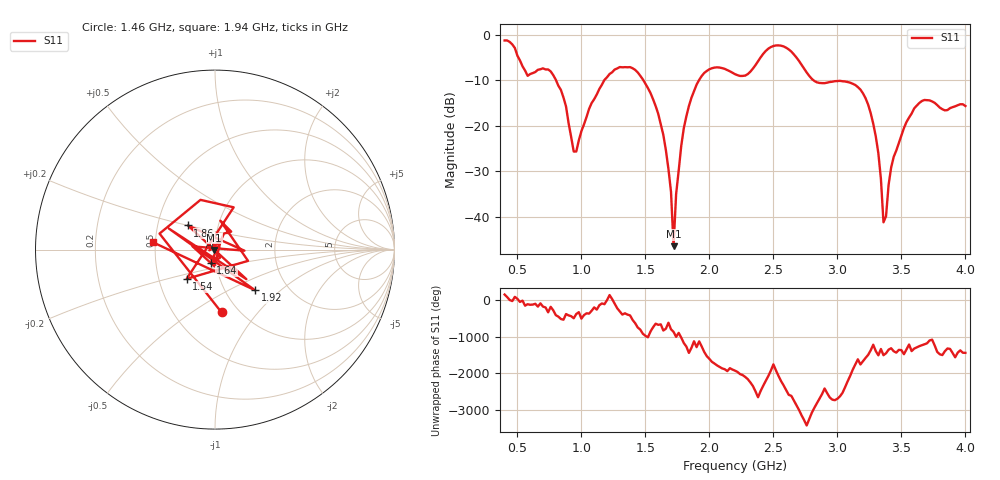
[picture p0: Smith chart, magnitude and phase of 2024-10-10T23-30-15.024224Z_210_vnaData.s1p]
! Created with skrf (http://scikit-rf.org).
# Hz S RI R 50.0
!freq ReS11 ImS11
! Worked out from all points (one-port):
!   181 points, 400 MHz to 4 GHz, reference 50 ohm
!   lowest |S11| = -46.5 dB at 1.72 GHz (marker M1), VSWR 1.01, Z = 49.6 - j0.268 ohm
!   |S11| at or under -10 dB: 801 MHz to 1.179 GHz (378.5 MHz wide, 38.2 % of centre); 1.483 GHz to 1.919 GHz (436.1 MHz wide, 25.6 % of centre); 2.811 GHz to end of sweep
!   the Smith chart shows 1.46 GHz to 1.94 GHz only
!   S11 on the Smith chart (normalised r, x): 1.46 GHz: 0.83, -0.67; 1.54 GHz: 0.69, -0.24; 1.64 GHz: 0.94, -0.14; 1.86 GHz: 0.71, +0.20; 1.92 GHz: 1.37, -0.69; 1.94 GHz: 0.48, +0.05
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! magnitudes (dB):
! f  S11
! 400 MHz  -1.3
! 760 MHz  -8.1
! 860 MHz  -13.8
! 960 MHz  -25.7
! 1.08 GHz  -15.0
! 1.3 GHz  -7.1
! 1.46 GHz  -9.1
! 1.54 GHz  -12.9
! 1.64 GHz  -22.0
! 1.7 GHz  -34.5
! 1.72 GHz  -46.5
! 1.74 GHz  -35.0
! 1.76 GHz  -29.9
! 1.86 GHz  -13.9
! 1.92 GHz  -10.0
! 1.94 GHz  -9.1
! 2.2 GHz  -8.7
! 2.5 GHz  -2.5
! 2.66 GHz  -4.4
! 2.84 GHz  -10.5
! 3.1 GHz  -10.6
! 3.28 GHz  -19.6
! 3.32 GHz  -26.1
! 3.36 GHz  -41.3
! 3.44 GHz  -26.9
! 3.56 GHz  -18.2
! 3.68 GHz  -14.4
! 4 GHz  -15.7
